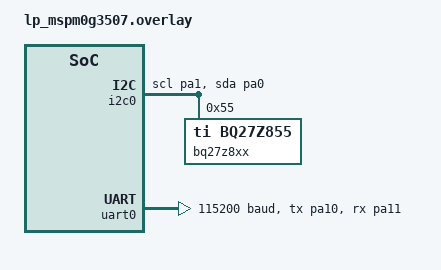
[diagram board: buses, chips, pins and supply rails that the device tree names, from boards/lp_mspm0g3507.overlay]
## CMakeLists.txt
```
# Copyright (c) 2023, ithinx GmbH
# Copyright (c) 2023, Tonies GmbH
# Copyright (c) 2026, Texas Instruments Incorporated
#
# SPDX-License-Identifier: Apache-2.0

cmake_minimum_required(VERSION 3.20.0)
find_package(Zephyr REQUIRED HINTS $ENV{ZEPHYR_BASE})
project(bq27z8xx_fuel_gauge)

target_sources(app PRIVATE src/main.c)

# Expose shared driver types: bq27z8xx_common.h (and optionally bq27z758.h / bq27z855.h)
target_include_directories(app PRIVATE
    ${ZEPHYR_BASE}/drivers/fuel_gauge/bq27z8xx)
```

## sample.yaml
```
sample:
  name: TI BQ27Z8XX Fuel Gauge Sample
tests:
  sample.sensor.ti_bq27z8xx:
    build_only: true
    platform_allow:
      - native_sim
      - native_sim/native/64bit
      - lp_mspm0g3507
    integration_platforms:
      - native_sim
    tags: fuel_gauge ti bq27z8xx bq27z855 bq27z758
```

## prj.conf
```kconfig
CONFIG_I2C=y
CONFIG_FUEL_GAUGE=y
CONFIG_SERIAL=y
```

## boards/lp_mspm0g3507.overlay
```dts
/*
 * Copyright (c) 2026 Texas Instruments
 *
 * SPDX-License-Identifier: Apache-2.0
 */

/ {
	aliases {
		fuel-gauge0 = &bq27z8xx;
	};
};

&i2c0_scl_pa1 {
	input-enable;
};

&i2c0_sda_pa0 {
	input-enable;
};

&i2c0 {
	pinctrl-0 = <&i2c0_scl_pa1 &i2c0_sda_pa0>;
	pinctrl-names = "default";
	merge-buf-size = <64>;
	status = "okay";

	bq27z8xx: bq27z8xx@55 {
		compatible = "ti,bq27z855";
		reg = <0x55>;
	};
};

&uart0 {
	current-speed = <115200>;
	clocks = <&ckm MSPM0_CLOCK_ULPCLK>;
	pinctrl-0 = <&uart0_tx_pa10 &uart0_rx_pa11>;
	status = "okay";
};
```

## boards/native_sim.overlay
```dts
/*
 * Copyright (c) 2023, ithinx GmbH
 * Copyright (c) 2023, Tonies GmbH
 * Copyright (c) 2026, Texas Instruments Incorporated
 *
 * SPDX-License-Identifier: Apache-2.0
 */

/ {
	aliases {
		fuel-gauge0 = &bq27z8xx;
	};

	i2c_emul_bus: i2c@100 {
		compatible = "zephyr,i2c-emul-controller";
		status = "okay";
		reg = <0x100 0x10>;
		#address-cells = <1>;
		#size-cells = <0>;
		clock-frequency = <100000>;

		/*
		 * BQ27Z8XX emulator.  The device-type property selects which
		 * variant the emulator presents:
		 *   device-type = "bq27z855"  (default when omitted)
		 *   device-type = "bq27z758"
		 */
		bq27z8xx: bq27z8xx@55 {
			compatible = "ti,bq27z8xx";
			status = "okay";
			reg = <0x55>;
			device-type = "bq27z855";
		};
	};
};
```

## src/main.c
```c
/*
 * Copyright (c) 2026 Texas Instruments Incorporated
 *
 * SPDX-License-Identifier: Apache-2.0
 */

#include <zephyr/kernel.h>
#include <zephyr/sys/printk.h>
#include <zephyr/drivers/i2c.h>
#include <zephyr/drivers/fuel_gauge.h>
#include "bq27z8xx_common.h"

#define STACKSIZE 2048
#define PRIORITY  7

const struct device *const fuel_gauge = DEVICE_DT_GET(DT_ALIAS(fuel_gauge0));
K_MUTEX_DEFINE(i2c_mutex);
K_MUTEX_DEFINE(serial_mutex);

void read_fuel_gauge_current(void)
{
	union fuel_gauge_prop_val prop;

	while (1) {
		k_mutex_lock(&i2c_mutex, K_FOREVER);
		int rc = fuel_gauge_get_prop(fuel_gauge, FUEL_GAUGE_AVG_CURRENT, &prop);

		k_mutex_unlock(&i2c_mutex);

		k_mutex_lock(&serial_mutex, K_FOREVER);
		if (rc) {
			printk("Error reading current: %d\n", rc);
		} else {
			printk("Current reading: %d uA\n", prop.avg_current);
		}
		k_mutex_unlock(&serial_mutex);

		k_msleep(1000);
	}
}

void read_fuel_gauge_voltage(void)
{
	union fuel_gauge_prop_val prop;

	while (1) {
		k_mutex_lock(&i2c_mutex, K_FOREVER);
		int rc = fuel_gauge_get_prop(fuel_gauge, FUEL_GAUGE_VOLTAGE, &prop);

		k_mutex_unlock(&i2c_mutex);

		k_mutex_lock(&serial_mutex, K_FOREVER);
		if (rc) {
			printk("Error reading voltage: %d\n", rc);
		} else {
			printk("Voltage reading: %d uV\n", prop.voltage);
		}
		k_mutex_unlock(&serial_mutex);

		k_msleep(1000);
	}
}

void read_fuel_gauge_status(void)
{
	union fuel_gauge_prop_val prop;

	while (1) {
		k_mutex_lock(&i2c_mutex, K_FOREVER);
		int rc = fuel_gauge_get_prop(fuel_gauge, FUEL_GAUGE_STATUS, &prop);

		k_mutex_unlock(&i2c_mutex);

		k_mutex_lock(&serial_mutex, K_FOREVER);
		if (rc) {
			printk("Error reading status: %d\n", rc);
		} else {
			printk("Status: 0x%04x\n", prop.fg_status);
		}
		k_mutex_unlock(&serial_mutex);

		k_msleep(1000);
	}
}

K_THREAD_DEFINE(read_fuel_gauge_current_id, STACKSIZE, read_fuel_gauge_current, NULL, NULL, NULL,
		PRIORITY, 0, 0);
K_THREAD_DEFINE(read_fuel_gauge_voltage_id, STACKSIZE, read_fuel_gauge_voltage, NULL, NULL, NULL,
		PRIORITY, 0, 0);
K_THREAD_DEFINE(read_fuel_gauge_status_id, STACKSIZE, read_fuel_gauge_status, NULL, NULL, NULL,
		PRIORITY, 0, 0);

int main(void)
{
	const struct device *const i2c_bus = DEVICE_DT_GET(DT_BUS(DT_ALIAS(fuel_gauge0)));
	uint8_t first_addr = 0;

	if (!device_is_ready(fuel_gauge)) {
		printk("Fuel gauge not ready (device detection failed during init)\n");
		return -ENODEV;
	}

	k_mutex_lock(&i2c_mutex, K_FOREVER);

	k_mutex_lock(&serial_mutex, K_FOREVER);
	printk("Scanning I2C bus...\n");
	k_mutex_unlock(&serial_mutex);

	for (uint8_t addr = 0x08; addr <= 0x77; addr++) {
		if (i2c_write(i2c_bus, NULL, 0, addr) == 0) {
			k_mutex_lock(&serial_mutex, K_FOREVER);
			printk("  Device found at address 0x%02x\n", addr);
			k_mutex_unlock(&serial_mutex);
			if (first_addr == 0) {
				first_addr = addr;
			}
		}
	}

	k_mutex_lock(&serial_mutex, K_FOREVER);
	if (first_addr == 0) {
		printk("  No devices found\n");
	}
	printk("Scan complete. Starting fuel gauge reads...\n");
	k_mutex_unlock(&serial_mutex);

	if (first_addr != 0 && first_addr != 0x55) {
		uint8_t cmd = 0x08;
		int rc = i2c_write(i2c_bus, &cmd, sizeof(cmd), first_addr);

		k_mutex_lock(&serial_mutex, K_FOREVER);
		if (rc) {
			printk("Failed to send SMBus command 0x08 to 0x%02x: %d\n", first_addr, rc);
		} else {
			printk("Sent SMBus command 0x08 to 0x%02x\n", first_addr);
		}
		k_mutex_unlock(&serial_mutex);
	}

	struct bq27z8xx_device_type dev_type;
	struct bq27z8xx_firmware_version fw_ver;
	struct bq27z8xx_hardware_version hw_ver;
	int rc;

	rc = fuel_gauge_get_buffer_prop(fuel_gauge, BQ27Z8XX_BUFFER_PROP_DEVICETYPE, &dev_type,
					sizeof(dev_type));
	k_mutex_lock(&serial_mutex, K_FOREVER);
	if (rc) {
		printk("Error reading device type: %d\n", rc);
	} else {
		const char *dev_name;

		switch (dev_type.device_type) {
		case BQ27Z8XX_DEVICE_TYPE_BQ27Z758:
			dev_name = "BQ27Z758";
			break;
		case BQ27Z8XX_DEVICE_TYPE_BQ27Z855:
			dev_name = "BQ27Z855";
			break;
		default:
			dev_name = "Unknown";
			break;
		}
		printk("Device type: %s (0x%04x)\n", dev_name, dev_type.device_type);
	}
	k_mutex_unlock(&serial_mutex);

	rc = fuel_gauge_get_buffer_prop(fuel_gauge, BQ27Z8XX_BUFFER_PROP_FIRMWAREVERSION, &fw_ver,
					sizeof(fw_ver));
	k_mutex_lock(&serial_mutex, K_FOREVER);
	if (rc) {
		printk("Error reading firmware version: %d\n", rc);
	} else {
		printk("Firmware: device=%d version=%d.%d build=%d type=%d dzt=%d\n",
		       fw_ver.device_number, fw_ver.version >> 8, fw_ver.version & 0xFF,
		       fw_ver.build_number, fw_ver.firmware_type, fw_ver.dynamic_z_track_version);
	}
	k_mutex_unlock(&serial_mutex);

	rc = fuel_gauge_get_buffer_prop(fuel_gauge, BQ27Z8XX_BUFFER_PROP_HARDWAREVERSION, &hw_ver,
					sizeof(hw_ver));
	k_mutex_lock(&serial_mutex, K_FOREVER);
	if (rc) {
		printk("Error reading hardware version: %d\n", rc);
	} else {
		printk("Hardware version: 0x%04x\n", hw_ver.hardware_version);
	}
	k_mutex_unlock(&serial_mutex);

	struct bq27z8xx_chem_id chem_id;

	rc = fuel_gauge_get_buffer_prop(fuel_gauge, BQ27Z8XX_BUFFER_PROP_CHEMID, &chem_id,
					sizeof(chem_id));
	k_mutex_lock(&serial_mutex, K_FOREVER);
	if (rc) {
		printk("Error reading chem ID: %d\n", rc);
	} else {
		printk("Chem ID: 0x%04x\n", chem_id.chem_id);
	}
	k_mutex_unlock(&serial_mutex);

	k_mutex_unlock(&i2c_mutex);

	return 0;
}
```
